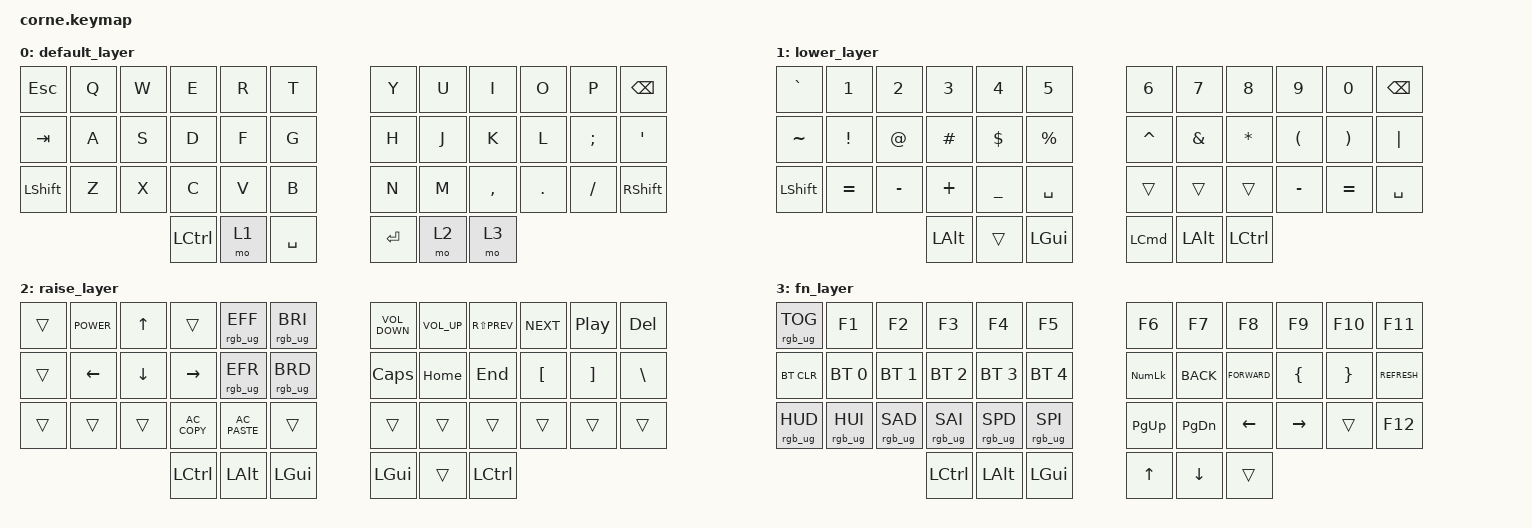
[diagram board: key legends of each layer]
/*
 * Copyright (c) 2020 The ZMK Contributors
 *
 * SPDX-License-Identifier: MIT
 */

#include <behaviors.dtsi>
#include <dt-bindings/zmk/bt.h>
#include <dt-bindings/zmk/keys.h>
#include <dt-bindings/zmk/rgb.h>

&led_strip { chain-length = <27>; };

/ {
    keymap {
        compatible = "zmk,keymap";

        default_layer {
            // -----------------------------------------------------------------------------------------
            // |  TAB |  Q  |  W  |  E  |  R  |  T  |   |  Y  |  U   |  I  |  O  |  P  | BSPC |
            // | CTRL |  A  |  S  |  D  |  F  |  G  |   |  H  |  J   |  K  |  L  |  ;  |  '   |
            // | SHFT |  Z  |  X  |  C  |  V  |  B  |   |  N  |  M   |  ,  |  .  |  /  | ESC  |
            //                    | GUI | LWR | SPC |   | ENT | RSE  | ALT |

            bindings = <
&kp ESCAPE  &kp Q  &kp W  &kp E      &kp R  &kp T        &kp Y    &kp U  &kp I      &kp O    &kp P     &kp BSPC
&kp TAB     &kp A  &kp S  &kp D      &kp F  &kp G        &kp H    &kp J  &kp K      &kp L    &kp SEMI  &kp SQT
&kp LSHFT   &kp Z  &kp X  &kp C      &kp V  &kp B        &kp N    &kp M  &kp COMMA  &kp DOT  &kp FSLH  &kp RIGHT_SHIFT
                          &kp LCTRL  &mo 1  &kp SPACE    &kp RET  &mo 2  &mo 3
            >;
        };

        lower_layer {
            // -----------------------------------------------------------------------------------------
            // |  TAB |  1  |  2  |  3  |  4  |  5  |   |  6  |  7  |  8  |  9  |  0  | BSPC |
            // | BTCLR| BT1 | BT2 | BT3 | BT4 | BT5 |   | LFT | DWN |  UP | RGT |     |      |
            // | SHFT |     |     |     |     |     |   |     |     |     |     |     |      |
            //                    | GUI |     | SPC |   | ENT |     | ALT |

            bindings = <
&kp GRAVE  &kp N1           &kp N2       &kp N3        &kp N4          &kp N5          &kp N6     &kp N7         &kp N8        &kp N9                &kp N0                 &kp BSPC
&kp TILDE  &kp EXCLAMATION  &kp AT_SIGN  &kp HASH      &kp DOLLAR      &kp PERCENT     &kp CARET  &kp AMPERSAND  &kp ASTERISK  &kp LEFT_PARENTHESIS  &kp RIGHT_PARENTHESIS  &kp PIPE
&kp LSHFT  &kp EQUAL        &kp MINUS    &kp PLUS      &kp UNDERSCORE  &kp SPACE       &trans     &trans         &trans        &kp MINUS             &kp EQUAL              &kp SPACE
                                         &kp LEFT_ALT  &trans          &kp LEFT_GUI    &kp LCMD   &kp LEFT_ALT   &kp LCTRL
            >;
        };

        raise_layer {
            // -----------------------------------------------------------------------------------------
            // |  TAB |  !  |  @  |  #  |  $  |  %  |   |  ^  |  &  |  *  |  (  |  )  | BSPC |
            // | CTRL |     |     |     |     |     |   |  -  |  =  |  [  |  ]  |  \  |  `   |
            // | SHFT |     |     |     |     |     |   |  _  |  +  |  {  |  }  | "|" |  ~   |
            //                    | GUI |     | SPC |   | ENT |     | ALT |

            bindings = <
&trans  &kp C_POWER  &kp UP_ARROW  &trans           &rgb_ug RGB_EFF  &rgb_ug RGB_BRI    &kp C_VOLUME_DOWN  &kp C_VOLUME_UP  &kp RS(C_PREV)  &kp C_NEXT        &kp C_PLAY_PAUSE   &kp DEL
&trans  &kp LEFT     &kp DOWN      &kp RIGHT_ARROW  &rgb_ug RGB_EFR  &rgb_ug RGB_BRD    &kp CAPS           &kp HOME         &kp END         &kp LEFT_BRACKET  &kp RIGHT_BRACKET  &kp BACKSLASH
&trans  &trans       &trans        &kp C_AC_COPY    &kp C_AC_PASTE   &trans             &trans             &trans           &trans          &trans            &trans             &trans
                                   &kp LCTRL        &kp LEFT_ALT     &kp LEFT_GUI       &kp LEFT_GUI       &trans           &kp LCTRL
            >;
        };

        fn_layer {
            bindings = <
&rgb_ug RGB_TOG  &kp F1           &kp F2           &kp F3           &kp F4           &kp F5             &kp F6          &kp F7         &kp F8         &kp F9          &kp F10          &kp F11
&bt BT_CLR       &bt BT_SEL 0     &bt BT_SEL 1     &bt BT_SEL 2     &bt BT_SEL 3     &bt BT_SEL 4       &kp KP_NUMLOCK  &kp K_BACK     &kp K_FORWARD  &kp LEFT_BRACE  &kp RIGHT_BRACE  &kp K_REFRESH
&rgb_ug RGB_HUD  &rgb_ug RGB_HUI  &rgb_ug RGB_SAD  &rgb_ug RGB_SAI  &rgb_ug RGB_SPD  &rgb_ug RGB_SPI    &kp PAGE_UP     &kp PAGE_DOWN  &kp LEFT       &kp RIGHT       &trans           &kp F12
                                                   &kp LCTRL        &kp LEFT_ALT     &kp LEFT_GUI       &kp UP          &kp DOWN       &trans
            >;
        };
    };
};
